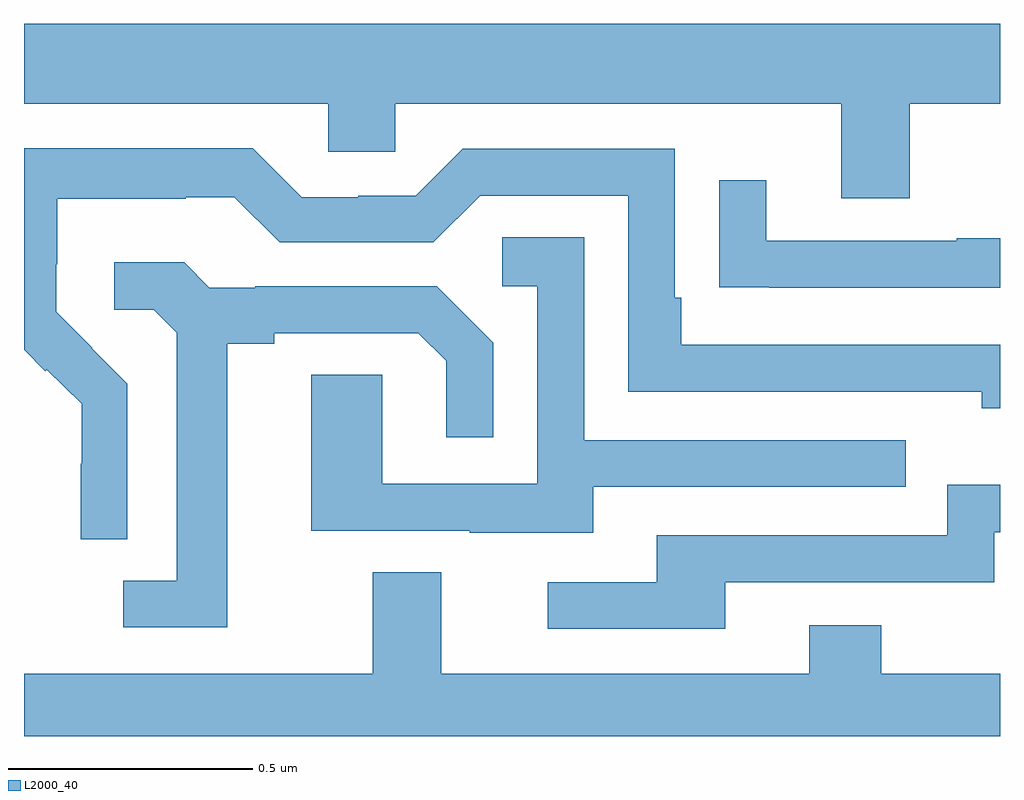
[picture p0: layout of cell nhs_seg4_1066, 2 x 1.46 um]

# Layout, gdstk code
import gdstk
lib = gdstk.Library(unit=1e-6, precision=1e-09)
def P(c, l, *ps):  # polygons
    for p in ps: c.add(gdstk.Polygon(p, *l))
L2000_40 = (2000, 40)

nhs_seg4_1066 = lib.new_cell('nhs_seg4_1066')
P(nhs_seg4_1066, L2000_40, [(125.815,754.196),(126,754.196),(126,754.36),(124,754.36),(124,754.196),(124.623,754.196),(124.623,754.098),(124.761,754.098),(124.761,754.196),(125.675,754.196),(125.675,754.002),(125.815,754.002)],
  [(124.044,753.648),(124.047,753.651),(124.118,753.581),(124.118,753.458),(124.116,753.458),(124.116,753.304),(124.212,753.304),(124.212,753.622),(124.139,753.695),(124.14,753.696),(124.066,753.77),(124.066,753.867),(124.068,753.867),(124.068,754.001),(124.331,754.001),(124.331,754.005),(124.431,754.005),(124.524,753.912),(124.839,753.912),(124.935,754.008),(125.238,754.008),(125.238,753.606),(125.963,753.606),(125.963,753.572),(126,753.572),(126,753.702),(125.347,753.702),(125.347,753.799),(125.334,753.799),(125.334,754.104),(124.899,754.104),(124.803,754.008),(124.685,754.008),(124.685,754.005),(124.569,754.005),(124.469,754.105),(124,754.105),(124,753.692)],
  [(126,753.92),(125.911,753.92),(125.911,753.915),(125.521,753.915),(125.521,754.039),(125.425,754.039),(125.425,753.82),(125.527,753.82),(125.527,753.819),(126,753.819)],
  [(125.167,753.411),(125.807,753.411),(125.807,753.507),(125.148,753.507),(125.148,753.923),(124.98,753.923),(124.98,753.822),(125.052,753.822),(125.052,753.417),(124.734,753.417),(124.734,753.641),(124.589,753.641),(124.589,753.321),(124.913,753.321),(124.913,753.317),(125.167,753.317)],
  [(124.417,753.704),(124.513,753.704),(124.513,753.726),(124.808,753.726),(124.865,753.669),(124.865,753.513),(124.962,753.513),(124.962,753.706),(124.846,753.822),(124.474,753.822),(124.474,753.819),(124.38,753.819),(124.328,753.871),(124.185,753.871),(124.185,753.774),(124.266,753.774),(124.313,753.727),(124.313,753.219),(124.203,753.219),(124.203,753.123),(124.417,753.123)],
  [(125.437,753.216),(125.988,753.216),(125.988,753.318),(126,753.318),(126,753.415),(125.892,753.415),(125.892,753.312),(125.297,753.312),(125.297,753.216),(125.073,753.216),(125.073,753.12),(125.437,753.12)],
  [(126,753.028),(125.757,753.028),(125.757,753.127),(125.609,753.127),(125.609,753.028),(124.855,753.028),(124.855,753.236),(124.715,753.236),(124.715,753.028),(124,753.028),(124,752.9),(126,752.9)])

lib.write_gds('nhs_seg4_1066.gds')
